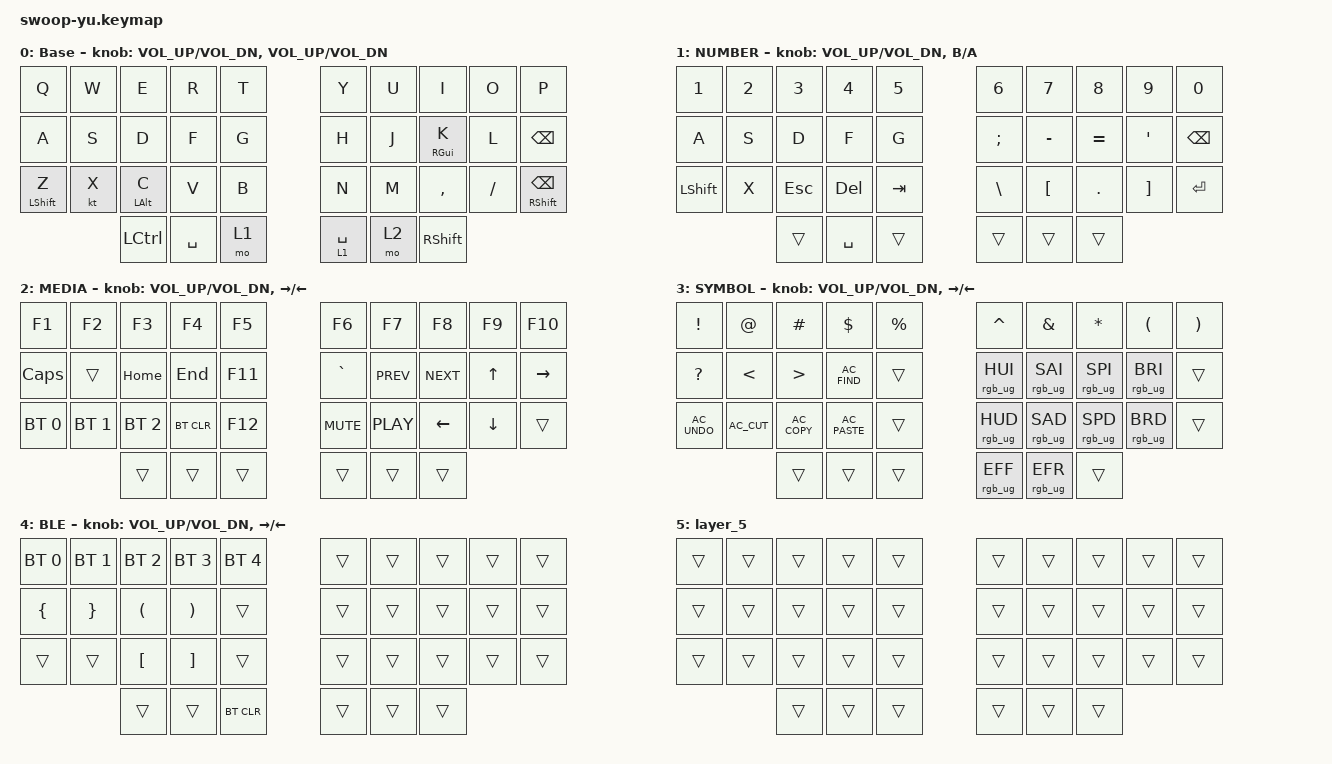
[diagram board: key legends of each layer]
/*
 * Copyright (c) 2020 duckyb
 *
 * SPDX-License-Identifier: MIT
 */

#include <behaviors.dtsi>
#include <dt-bindings/zmk/bt.h>
#include <dt-bindings/zmk/keys.h>
#include <dt-bindings/zmk/keys.h>
#include <dt-bindings/zmk/rgb.h>

/ {
    behaviors {
        gqt: global-quick-tap {
            compatible = "zmk,behavior-hold-tap";
            label = "GLOBAL_QUICK_TAP";
            bindings = <&kp>, <&kp>;

            #binding-cells = <2>;
            quick-tap-ms = <180>;
            tapping-term-ms = <200>;
            global-quick-tap;
        };

        ltq: ltq {
            compatible = "zmk,behavior-hold-tap";
            label = "LTQ";
            bindings = <&mo>, <&kp>;

            #binding-cells = <2>;
            global-quick-tap;
            tapping-term-ms = <200>;
            quick-tap-ms = <180>;
        };

        ht: ht {
            compatible = "zmk,behavior-hold-tap";
            label = "HT";
            bindings = <&kp>, <&kp>;

            #binding-cells = <2>;
            tapping-term-ms = <200>;
            quick-tap-ms = <100>;
            global-quick-tap;
            flavor = "tap-preferred";
        };
    };

    keymap {
        compatible = "zmk,keymap";

        base {
            label = "Base";
            bindings = <
&kp Q             &kp W  &kp E           &kp R      &kp T    &kp Y         &kp U  &kp I            &kp O      &kp P
&kp A             &kp S  &kp D           &kp F      &kp G    &kp H         &kp J  &ht RIGHT_GUI K  &kp L      &kp BSPC
&ht LEFT_SHIFT Z  &kt X  &ht LEFT_ALT C  &kp V      &kp B    &kp N         &kp M  &kp COMMA        &kp SLASH  &ht RIGHT_SHIFT BACKSPACE
                         &kp LCTRL       &kp SPACE  &mo 1    &ltq 1 SPACE  &mo 2  &kp RSHFT
            >;

            sensor-bindings = <&inc_dec_kp C_VOL_UP C_VOL_DN &inc_dec_kp C_VOL_UP C_VOL_DN>;
        };

        number {
            label = "NUMBER";
            bindings = <
&kp NUMBER_1    &kp NUMBER_2  &kp NUMBER_3  &kp NUMBER_4  &kp NUMBER_5    &kp NUMBER_6   &kp NUMBER_7  &kp NUMBER_8  &kp NUMBER_9  &kp NUMBER_0
&kp A           &kp S         &kp D         &kp F         &kp G           &kp SEMI       &kp MINUS     &kp EQUAL     &kp SQT       &kp BSPC
&kp LEFT_SHIFT  &kp X         &kp ESC       &kp DEL       &kp TAB         &kp BACKSLASH  &kp LBKT      &kp DOT       &kp RBKT      &kp ENTER
                              &trans        &kp SPACE     &trans          &trans         &trans        &trans
            >;

            sensor-bindings = <&inc_dec_kp C_VOL_UP C_VOL_DN &inc_dec_kp B A>;
        };

        f_media {
            label = "MEDIA";
            bindings = <
&kp F1        &kp F2        &kp F3        &kp F4      &kp F5     &kp F6      &kp F7      &kp F8      &kp F9          &kp F10
&kp CAPS      &trans        &kp HOME      &kp END     &kp F11    &kp GRAVE   &kp C_PREV  &kp C_NEXT  &kp UP_ARROW    &kp RIGHT
&bt BT_SEL 0  &bt BT_SEL 1  &bt BT_SEL 2  &bt BT_CLR  &kp F12    &kp C_MUTE  &kp C_PLAY  &kp LEFT    &kp DOWN_ARROW  &trans
                            &trans        &trans      &trans     &trans      &trans      &trans
            >;

            sensor-bindings = <&inc_dec_kp C_VOL_UP C_VOL_DN &inc_dec_kp RIGHT LEFT>;
        };

        symbol {
            label = "SYMBOL";
            bindings = <
&kp EXCL       &kp AT         &kp HASH          &kp DOLLAR      &kp PERCENT    &kp CARET        &kp AMPS         &kp STAR         &kp LEFT_PARENTHESIS  &kp RIGHT_PARENTHESIS
&kp QUESTION   &kp LESS_THAN  &kp GREATER_THAN  &kp C_AC_FIND   &trans         &rgb_ug RGB_HUI  &rgb_ug RGB_SAI  &rgb_ug RGB_SPI  &rgb_ug RGB_BRI       &trans
&kp C_AC_UNDO  &kp C_AC_CUT   &kp C_AC_COPY     &kp C_AC_PASTE  &trans         &rgb_ug RGB_HUD  &rgb_ug RGB_SAD  &rgb_ug RGB_SPD  &rgb_ug RGB_BRD       &trans
                              &trans            &trans          &trans         &rgb_ug RGB_EFF  &rgb_ug RGB_EFR  &trans
            >;

            sensor-bindings = <&inc_dec_kp C_VOL_UP C_VOL_DN &inc_dec_kp RIGHT LEFT>;
        };

        ble {
            label = "BLE";
            bindings = <
&bt BT_SEL 0    &bt BT_SEL 1     &bt BT_SEL 2          &bt BT_SEL 3           &bt BT_SEL 4    &trans  &trans  &trans  &trans  &trans
&kp LEFT_BRACE  &kp RIGHT_BRACE  &kp LEFT_PARENTHESIS  &kp RIGHT_PARENTHESIS  &trans          &trans  &trans  &trans  &trans  &trans
&trans          &trans           &kp LEFT_BRACKET      &kp RIGHT_BRACKET      &trans          &trans  &trans  &trans  &trans  &trans
                                 &trans                &trans                 &bt BT_CLR      &trans  &trans  &trans
            >;

            sensor-bindings = <&inc_dec_kp C_VOL_UP C_VOL_DN &inc_dec_kp RIGHT LEFT>;
        };

        layer_5 {
            bindings = <
&trans  &trans  &trans  &trans  &trans    &trans  &trans  &trans  &trans  &trans
&trans  &trans  &trans  &trans  &trans    &trans  &trans  &trans  &trans  &trans
&trans  &trans  &trans  &trans  &trans    &trans  &trans  &trans  &trans  &trans
                &trans  &trans  &trans    &trans  &trans  &trans
            >;
        };
    };
};
